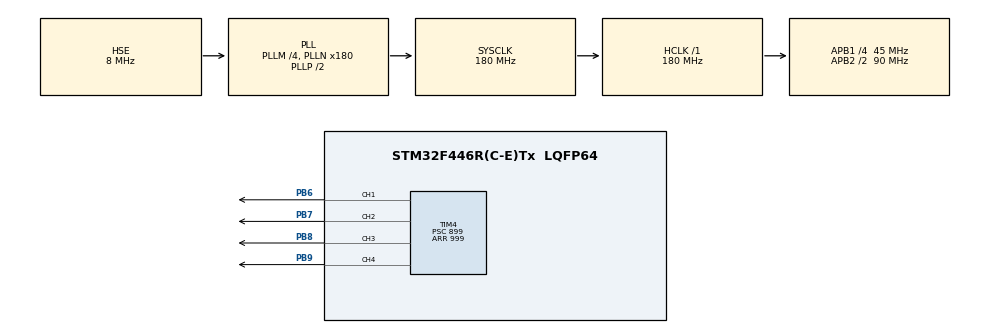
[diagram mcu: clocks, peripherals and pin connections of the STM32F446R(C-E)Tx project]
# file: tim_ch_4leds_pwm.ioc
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Mcu.Family=STM32F4
Mcu.Name=STM32F446R(C-E)Tx
Mcu.Package=LQFP64
NVIC.PriorityGroup=NVIC_PRIORITYGROUP_0
PA13.Mode=Serial_Wire
PA13.Signal=SYS_JTMS-SWDIO
PA14.Mode=Serial_Wire
PA14.Signal=SYS_JTCK-SWCLK
PB6.Signal=S_TIM4_CH1
PB7.Signal=S_TIM4_CH2
PB8.Signal=S_TIM4_CH3
PB9.Signal=S_TIM4_CH4
PH0-OSC_IN.Mode=HSE-External-Oscillator
PH0-OSC_IN.Signal=RCC_OSC_IN
PH1-OSC_OUT.Mode=HSE-External-Oscillator
PH1-OSC_OUT.Signal=RCC_OSC_OUT
ProjectManager.HeapSize=0x200
ProjectManager.StackSize=0x400
ProjectManager.TargetToolchain=Makefile
RCC.AHBFreq_Value=180000000
RCC.APB1CLKDivider=RCC_HCLK_DIV4
RCC.APB1Freq_Value=45000000
RCC.APB1TimFreq_Value=90000000
RCC.APB2CLKDivider=RCC_HCLK_DIV2
RCC.APB2Freq_Value=90000000
RCC.APB2TimFreq_Value=180000000
RCC.CortexFreq_Value=180000000
RCC.FLatency-AdvancedSettings=FLASH_LATENCY_5
RCC.HCLKFreq_Value=180000000
RCC.HSE_VALUE=8000000
RCC.HSI_VALUE=16000000
RCC.LSE_VALUE=32768
RCC.PLLM=4
RCC.PLLN=180
RCC.PLLSourceVirtual=RCC_PLLSOURCE_HSE
RCC.SYSCLKFreq_VALUE=180000000
RCC.SYSCLKSource=RCC_SYSCLKSOURCE_PLLCLK
RCC.USBFreq_Value=180000000
RCC.VCOOutputFreq_Value=360000000
SH.S_TIM4_CH1.0=TIM4_CH1,PWM Generation1 CH1
SH.S_TIM4_CH2.0=TIM4_CH2,PWM Generation2 CH2
SH.S_TIM4_CH3.0=TIM4_CH3,PWM Generation3 CH3
SH.S_TIM4_CH4.0=TIM4_CH4,PWM Generation4 CH4
TIM4.Channel-PWM\ Generation1\ CH1=TIM_CHANNEL_1
TIM4.Channel-PWM\ Generation2\ CH2=TIM_CHANNEL_2
TIM4.Channel-PWM\ Generation3\ CH3=TIM_CHANNEL_3
TIM4.Channel-PWM\ Generation4\ CH4=TIM_CHANNEL_4
TIM4.OCPolarity_1=TIM_OCPOLARITY_LOW
TIM4.OCPolarity_2=TIM_OCPOLARITY_LOW
TIM4.OCPolarity_3=TIM_OCPOLARITY_LOW
TIM4.OCPolarity_4=TIM_OCPOLARITY_LOW
TIM4.Period=999
TIM4.Prescaler=899
TIM4.Pulse-PWM\ Generation1\ CH1=0
VP_TIM4_VS_ClockSourceINT.Mode=Internal
board=NUCLEO-F446RE

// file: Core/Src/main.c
/* USER CODE BEGIN Header */
/**
  ******************************************************************************
  * @file           : main.c
  * @brief          : Main program body
  ******************************************************************************
  * @attention
  *
  * Copyright (c) 2025 STMicroelectronics.
  * All rights reserved.
  *
  * This software is licensed under terms that can be found in the LICENSE file
  * in the root directory of this software component.
  * If no LICENSE file comes with this software, it is provided AS-IS.
  *
  ******************************************************************************
  */
/* USER CODE END Header */
#include "main.h"
#include "tim.h"
#include "gpio.h"

void SystemClock_Config(void);

int main(void)
{

  /* MCU Configuration--------------------------------------------------------*/

  /* Reset of all peripherals, Initializes the Flash interface and the Systick. */
  HAL_Init();

  /* Configure the system clock */
  SystemClock_Config();

  /* Initialize all configured peripherals */
  MX_GPIO_Init();
  MX_TIM4_Init();
  /* USER CODE BEGIN 2 */
  HAL_TIM_PWM_Start(&htim4, TIM_CHANNEL_1);
  HAL_TIM_PWM_Start(&htim4, TIM_CHANNEL_2);
  HAL_TIM_PWM_Start(&htim4, TIM_CHANNEL_3);
  HAL_TIM_PWM_Start(&htim4, TIM_CHANNEL_4);
  /* USER CODE END 2 */

  /* Infinite loop */
  /* USER CODE BEGIN WHILE */
  uint16_t pwm_value = 0;
  int8_t pwm_change = 1;
  uint32_t now = 0, next_change = 0;
  while (1)
  {
    now = uwTick;
    if (now >= next_change) {
      __HAL_TIM_SET_COMPARE(&htim4, TIM_CHANNEL_1, pwm_value);
      __HAL_TIM_SET_COMPARE(&htim4, TIM_CHANNEL_2, 1000 - pwm_value);
      __HAL_TIM_SET_COMPARE(&htim4, TIM_CHANNEL_3, pwm_value);
      __HAL_TIM_SET_COMPARE(&htim4, TIM_CHANNEL_4, 1000 - pwm_value);
      pwm_value += pwm_change;

      if (pwm_value == 0) {
        pwm_change = 1;
      }
      if (pwm_value == 1000) {
        pwm_change = -1;
      }

      next_change = now + 2;
    }
    /* USER CODE END WHILE */

  }
}

void SystemClock_Config(void)
{
  RCC_OscInitTypeDef RCC_OscInitStruct = {0};
  RCC_ClkInitTypeDef RCC_ClkInitStruct = {0};

  /** Configure the main internal regulator output voltage
  */
  __HAL_RCC_PWR_CLK_ENABLE();
  __HAL_PWR_VOLTAGESCALING_CONFIG(PWR_REGULATOR_VOLTAGE_SCALE1);

  /** Initializes the RCC Oscillators according to the specified parameters
  * in the RCC_OscInitTypeDef structure.
  */
  RCC_OscInitStruct.OscillatorType = RCC_OSCILLATORTYPE_HSE;
  RCC_OscInitStruct.HSEState = RCC_HSE_ON;
  RCC_OscInitStruct.PLL.PLLState = RCC_PLL_ON;
  RCC_OscInitStruct.PLL.PLLSource = RCC_PLLSOURCE_HSE;
  RCC_OscInitStruct.PLL.PLLM = 4;
  RCC_OscInitStruct.PLL.PLLN = 180;
  RCC_OscInitStruct.PLL.PLLP = RCC_PLLP_DIV2;
  RCC_OscInitStruct.PLL.PLLQ = 2;
  RCC_OscInitStruct.PLL.PLLR = 2;
  if (HAL_RCC_OscConfig(&RCC_OscInitStruct) != HAL_OK)
  {
    Error_Handler();
  }

  /** Activate the Over-Drive mode
  */
  if (HAL_PWREx_EnableOverDrive() != HAL_OK)
  {
    Error_Handler();
  }

  /** Initializes the CPU, AHB and APB buses clocks
  */
  RCC_ClkInitStruct.ClockType = RCC_CLOCKTYPE_HCLK|RCC_CLOCKTYPE_SYSCLK
                              |RCC_CLOCKTYPE_PCLK1|RCC_CLOCKTYPE_PCLK2;
  RCC_ClkInitStruct.SYSCLKSource = RCC_SYSCLKSOURCE_PLLCLK;
  RCC_ClkInitStruct.AHBCLKDivider = RCC_SYSCLK_DIV1;
  RCC_ClkInitStruct.APB1CLKDivider = RCC_HCLK_DIV4;
  RCC_ClkInitStruct.APB2CLKDivider = RCC_HCLK_DIV2;

  if (HAL_RCC_ClockConfig(&RCC_ClkInitStruct, FLASH_LATENCY_5) != HAL_OK)
  {
    Error_Handler();
  }
}

void Error_Handler(void)
{
  __disable_irq();
  while (1)
  {
  }
}
